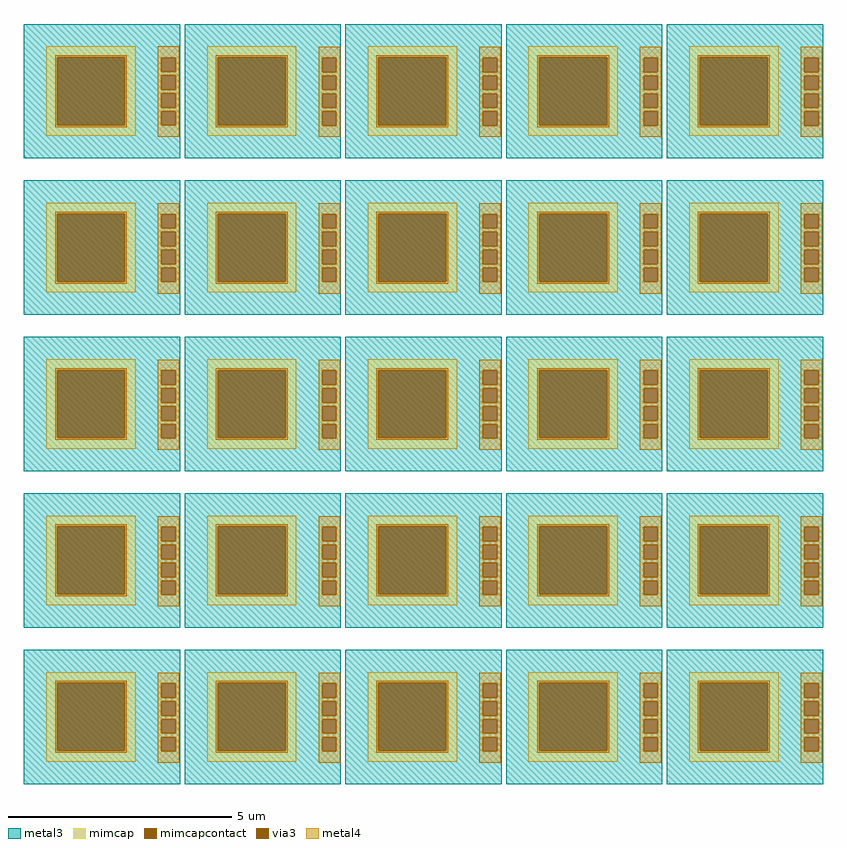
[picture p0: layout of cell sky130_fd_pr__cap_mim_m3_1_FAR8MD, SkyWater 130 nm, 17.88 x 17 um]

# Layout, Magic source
magic
tech sky130A
magscale 1 2
<< metal3 >>
rect -1788 1550 -1089 1700
rect -1788 1486 -1173 1550
rect -1109 1486 -1089 1550
rect -1788 1470 -1089 1486
rect -1788 1406 -1173 1470
rect -1109 1406 -1089 1470
rect -1788 1390 -1089 1406
rect -1788 1326 -1173 1390
rect -1109 1326 -1089 1390
rect -1788 1310 -1089 1326
rect -1788 1246 -1173 1310
rect -1109 1246 -1089 1310
rect -1788 1100 -1089 1246
rect -1069 1549 -370 1700
rect -1069 1485 -454 1549
rect -390 1485 -370 1549
rect -1069 1469 -370 1485
rect -1069 1405 -454 1469
rect -390 1405 -370 1469
rect -1069 1389 -370 1405
rect -1069 1325 -454 1389
rect -390 1325 -370 1389
rect -1069 1309 -370 1325
rect -1069 1245 -454 1309
rect -390 1245 -370 1309
rect -1069 1100 -370 1245
rect -350 1549 349 1700
rect -350 1485 265 1549
rect 329 1485 349 1549
rect -350 1469 349 1485
rect -350 1405 265 1469
rect 329 1405 349 1469
rect -350 1389 349 1405
rect -350 1325 265 1389
rect 329 1325 349 1389
rect -350 1309 349 1325
rect -350 1245 265 1309
rect 329 1245 349 1309
rect -350 1100 349 1245
rect 369 1549 1068 1700
rect 369 1485 984 1549
rect 1048 1485 1068 1549
rect 369 1469 1068 1485
rect 369 1405 984 1469
rect 1048 1405 1068 1469
rect 369 1389 1068 1405
rect 369 1325 984 1389
rect 1048 1325 1068 1389
rect 369 1309 1068 1325
rect 369 1245 984 1309
rect 1048 1245 1068 1309
rect 369 1100 1068 1245
rect 1088 1549 1787 1700
rect 1088 1485 1703 1549
rect 1767 1485 1787 1549
rect 1088 1469 1787 1485
rect 1088 1405 1703 1469
rect 1767 1405 1787 1469
rect 1088 1389 1787 1405
rect 1088 1325 1703 1389
rect 1767 1325 1787 1389
rect 1088 1309 1787 1325
rect 1088 1245 1703 1309
rect 1767 1245 1787 1309
rect 1088 1100 1787 1245
rect -1788 850 -1089 1000
rect -1788 786 -1173 850
rect -1109 786 -1089 850
rect -1788 770 -1089 786
rect -1788 706 -1173 770
rect -1109 706 -1089 770
rect -1788 690 -1089 706
rect -1788 626 -1173 690
rect -1109 626 -1089 690
rect -1788 610 -1089 626
rect -1788 546 -1173 610
rect -1109 546 -1089 610
rect -1788 400 -1089 546
rect -1069 850 -370 1000
rect -1069 786 -454 850
rect -390 786 -370 850
rect -1069 770 -370 786
rect -1069 706 -454 770
rect -390 706 -370 770
rect -1069 690 -370 706
rect -1069 626 -454 690
rect -390 626 -370 690
rect -1069 610 -370 626
rect -1069 546 -454 610
rect -390 546 -370 610
rect -1069 400 -370 546
rect -350 850 349 1000
rect -350 786 265 850
rect 329 786 349 850
rect -350 770 349 786
rect -350 706 265 770
rect 329 706 349 770
rect -350 690 349 706
rect -350 626 265 690
rect 329 626 349 690
rect -350 610 349 626
rect -350 546 265 610
rect 329 546 349 610
rect -350 400 349 546
rect 369 850 1068 1000
rect 369 786 984 850
rect 1048 786 1068 850
rect 369 770 1068 786
rect 369 706 984 770
rect 1048 706 1068 770
rect 369 690 1068 706
rect 369 626 984 690
rect 1048 626 1068 690
rect 369 610 1068 626
rect 369 546 984 610
rect 1048 546 1068 610
rect 369 400 1068 546
rect 1088 850 1787 1000
rect 1088 786 1703 850
rect 1767 786 1787 850
rect 1088 770 1787 786
rect 1088 706 1703 770
rect 1767 706 1787 770
rect 1088 690 1787 706
rect 1088 626 1703 690
rect 1767 626 1787 690
rect 1088 610 1787 626
rect 1088 546 1703 610
rect 1767 546 1787 610
rect 1088 400 1787 546
rect -1788 150 -1089 300
rect -1788 86 -1173 150
rect -1109 86 -1089 150
rect -1788 70 -1089 86
rect -1788 6 -1173 70
rect -1109 6 -1089 70
rect -1788 -10 -1089 6
rect -1788 -74 -1173 -10
rect -1109 -74 -1089 -10
rect -1788 -90 -1089 -74
rect -1788 -154 -1173 -90
rect -1109 -154 -1089 -90
rect -1788 -300 -1089 -154
rect -1069 150 -370 300
rect -1069 86 -454 150
rect -390 86 -370 150
rect -1069 70 -370 86
rect -1069 6 -454 70
rect -390 6 -370 70
rect -1069 -10 -370 6
rect -1069 -74 -454 -10
rect -390 -74 -370 -10
rect -1069 -90 -370 -74
rect -1069 -154 -454 -90
rect -390 -154 -370 -90
rect -1069 -300 -370 -154
rect -350 150 349 300
rect -350 86 265 150
rect 329 86 349 150
rect -350 70 349 86
rect -350 6 265 70
rect 329 6 349 70
rect -350 -10 349 6
rect -350 -74 265 -10
rect 329 -74 349 -10
rect -350 -90 349 -74
rect -350 -154 265 -90
rect 329 -154 349 -90
rect -350 -300 349 -154
rect 369 150 1068 300
rect 369 86 984 150
rect 1048 86 1068 150
rect 369 70 1068 86
rect 369 6 984 70
rect 1048 6 1068 70
rect 369 -10 1068 6
rect 369 -74 984 -10
rect 1048 -74 1068 -10
rect 369 -90 1068 -74
rect 369 -154 984 -90
rect 1048 -154 1068 -90
rect 369 -300 1068 -154
rect 1088 150 1787 300
rect 1088 86 1703 150
rect 1767 86 1787 150
rect 1088 70 1787 86
rect 1088 6 1703 70
rect 1767 6 1787 70
rect 1088 -10 1787 6
rect 1088 -74 1703 -10
rect 1767 -74 1787 -10
rect 1088 -90 1787 -74
rect 1088 -154 1703 -90
rect 1767 -154 1787 -90
rect 1088 -300 1787 -154
rect -1788 -550 -1089 -400
rect -1788 -614 -1173 -550
rect -1109 -614 -1089 -550
rect -1788 -630 -1089 -614
rect -1788 -694 -1173 -630
rect -1109 -694 -1089 -630
rect -1788 -710 -1089 -694
rect -1788 -774 -1173 -710
rect -1109 -774 -1089 -710
rect -1788 -790 -1089 -774
rect -1788 -854 -1173 -790
rect -1109 -854 -1089 -790
rect -1788 -1000 -1089 -854
rect -1069 -550 -370 -400
rect -1069 -614 -454 -550
rect -390 -614 -370 -550
rect -1069 -630 -370 -614
rect -1069 -694 -454 -630
rect -390 -694 -370 -630
rect -1069 -710 -370 -694
rect -1069 -774 -454 -710
rect -390 -774 -370 -710
rect -1069 -790 -370 -774
rect -1069 -854 -454 -790
rect -390 -854 -370 -790
rect -1069 -1000 -370 -854
rect -350 -550 349 -400
rect -350 -614 265 -550
rect 329 -614 349 -550
rect -350 -630 349 -614
rect -350 -694 265 -630
rect 329 -694 349 -630
rect -350 -710 349 -694
rect -350 -774 265 -710
rect 329 -774 349 -710
rect -350 -790 349 -774
rect -350 -854 265 -790
rect 329 -854 349 -790
rect -350 -1000 349 -854
rect 369 -550 1068 -400
rect 369 -614 984 -550
rect 1048 -614 1068 -550
rect 369 -630 1068 -614
rect 369 -694 984 -630
rect 1048 -694 1068 -630
rect 369 -710 1068 -694
rect 369 -774 984 -710
rect 1048 -774 1068 -710
rect 369 -790 1068 -774
rect 369 -854 984 -790
rect 1048 -854 1068 -790
rect 369 -1000 1068 -854
rect 1088 -550 1787 -400
rect 1088 -614 1703 -550
rect 1767 -614 1787 -550
rect 1088 -630 1787 -614
rect 1088 -694 1703 -630
rect 1767 -694 1787 -630
rect 1088 -710 1787 -694
rect 1088 -774 1703 -710
rect 1767 -774 1787 -710
rect 1088 -790 1787 -774
rect 1088 -854 1703 -790
rect 1767 -854 1787 -790
rect 1088 -1000 1787 -854
rect -1788 -1250 -1089 -1100
rect -1788 -1314 -1173 -1250
rect -1109 -1314 -1089 -1250
rect -1788 -1330 -1089 -1314
rect -1788 -1394 -1173 -1330
rect -1109 -1394 -1089 -1330
rect -1788 -1410 -1089 -1394
rect -1788 -1474 -1173 -1410
rect -1109 -1474 -1089 -1410
rect -1788 -1490 -1089 -1474
rect -1788 -1554 -1173 -1490
rect -1109 -1554 -1089 -1490
rect -1788 -1700 -1089 -1554
rect -1069 -1250 -370 -1100
rect -1069 -1314 -454 -1250
rect -390 -1314 -370 -1250
rect -1069 -1330 -370 -1314
rect -1069 -1394 -454 -1330
rect -390 -1394 -370 -1330
rect -1069 -1410 -370 -1394
rect -1069 -1474 -454 -1410
rect -390 -1474 -370 -1410
rect -1069 -1490 -370 -1474
rect -1069 -1554 -454 -1490
rect -390 -1554 -370 -1490
rect -1069 -1700 -370 -1554
rect -350 -1250 349 -1100
rect -350 -1314 265 -1250
rect 329 -1314 349 -1250
rect -350 -1330 349 -1314
rect -350 -1394 265 -1330
rect 329 -1394 349 -1330
rect -350 -1410 349 -1394
rect -350 -1474 265 -1410
rect 329 -1474 349 -1410
rect -350 -1490 349 -1474
rect -350 -1554 265 -1490
rect 329 -1554 349 -1490
rect -350 -1700 349 -1554
rect 369 -1250 1068 -1100
rect 369 -1314 984 -1250
rect 1048 -1314 1068 -1250
rect 369 -1330 1068 -1314
rect 369 -1394 984 -1330
rect 1048 -1394 1068 -1330
rect 369 -1410 1068 -1394
rect 369 -1474 984 -1410
rect 1048 -1474 1068 -1410
rect 369 -1490 1068 -1474
rect 369 -1554 984 -1490
rect 1048 -1554 1068 -1490
rect 369 -1700 1068 -1554
rect 1088 -1250 1787 -1100
rect 1088 -1314 1703 -1250
rect 1767 -1314 1787 -1250
rect 1088 -1330 1787 -1314
rect 1088 -1394 1703 -1330
rect 1767 -1394 1787 -1330
rect 1088 -1410 1787 -1394
rect 1088 -1474 1703 -1410
rect 1767 -1474 1787 -1410
rect 1088 -1490 1787 -1474
rect 1088 -1554 1703 -1490
rect 1767 -1554 1787 -1490
rect 1088 -1700 1787 -1554
<< via3 >>
rect -1173 1486 -1109 1550
rect -1173 1406 -1109 1470
rect -1173 1326 -1109 1390
rect -1173 1246 -1109 1310
rect -454 1485 -390 1549
rect -454 1405 -390 1469
rect -454 1325 -390 1389
rect -454 1245 -390 1309
rect 265 1485 329 1549
rect 265 1405 329 1469
rect 265 1325 329 1389
rect 265 1245 329 1309
rect 984 1485 1048 1549
rect 984 1405 1048 1469
rect 984 1325 1048 1389
rect 984 1245 1048 1309
rect 1703 1485 1767 1549
rect 1703 1405 1767 1469
rect 1703 1325 1767 1389
rect 1703 1245 1767 1309
rect -1173 786 -1109 850
rect -1173 706 -1109 770
rect -1173 626 -1109 690
rect -1173 546 -1109 610
rect -454 786 -390 850
rect -454 706 -390 770
rect -454 626 -390 690
rect -454 546 -390 610
rect 265 786 329 850
rect 265 706 329 770
rect 265 626 329 690
rect 265 546 329 610
rect 984 786 1048 850
rect 984 706 1048 770
rect 984 626 1048 690
rect 984 546 1048 610
rect 1703 786 1767 850
rect 1703 706 1767 770
rect 1703 626 1767 690
rect 1703 546 1767 610
rect -1173 86 -1109 150
rect -1173 6 -1109 70
rect -1173 -74 -1109 -10
rect -1173 -154 -1109 -90
rect -454 86 -390 150
rect -454 6 -390 70
rect -454 -74 -390 -10
rect -454 -154 -390 -90
rect 265 86 329 150
rect 265 6 329 70
rect 265 -74 329 -10
rect 265 -154 329 -90
rect 984 86 1048 150
rect 984 6 1048 70
rect 984 -74 1048 -10
rect 984 -154 1048 -90
rect 1703 86 1767 150
rect 1703 6 1767 70
rect 1703 -74 1767 -10
rect 1703 -154 1767 -90
rect -1173 -614 -1109 -550
rect -1173 -694 -1109 -630
rect -1173 -774 -1109 -710
rect -1173 -854 -1109 -790
rect -454 -614 -390 -550
rect -454 -694 -390 -630
rect -454 -774 -390 -710
rect -454 -854 -390 -790
rect 265 -614 329 -550
rect 265 -694 329 -630
rect 265 -774 329 -710
rect 265 -854 329 -790
rect 984 -614 1048 -550
rect 984 -694 1048 -630
rect 984 -774 1048 -710
rect 984 -854 1048 -790
rect 1703 -614 1767 -550
rect 1703 -694 1767 -630
rect 1703 -774 1767 -710
rect 1703 -854 1767 -790
rect -1173 -1314 -1109 -1250
rect -1173 -1394 -1109 -1330
rect -1173 -1474 -1109 -1410
rect -1173 -1554 -1109 -1490
rect -454 -1314 -390 -1250
rect -454 -1394 -390 -1330
rect -454 -1474 -390 -1410
rect -454 -1554 -390 -1490
rect 265 -1314 329 -1250
rect 265 -1394 329 -1330
rect 265 -1474 329 -1410
rect 265 -1554 329 -1490
rect 984 -1314 1048 -1250
rect 984 -1394 1048 -1330
rect 984 -1474 1048 -1410
rect 984 -1554 1048 -1490
rect 1703 -1314 1767 -1250
rect 1703 -1394 1767 -1330
rect 1703 -1474 1767 -1410
rect 1703 -1554 1767 -1490
<< mimcap >>
rect -1688 1552 -1288 1600
rect -1688 1248 -1640 1552
rect -1336 1248 -1288 1552
rect -1688 1200 -1288 1248
rect -969 1552 -569 1600
rect -969 1248 -921 1552
rect -617 1248 -569 1552
rect -969 1200 -569 1248
rect -250 1552 150 1600
rect -250 1248 -202 1552
rect 102 1248 150 1552
rect -250 1200 150 1248
rect 469 1552 869 1600
rect 469 1248 517 1552
rect 821 1248 869 1552
rect 469 1200 869 1248
rect 1188 1552 1588 1600
rect 1188 1248 1236 1552
rect 1540 1248 1588 1552
rect 1188 1200 1588 1248
rect -1688 852 -1288 900
rect -1688 548 -1640 852
rect -1336 548 -1288 852
rect -1688 500 -1288 548
rect -969 852 -569 900
rect -969 548 -921 852
rect -617 548 -569 852
rect -969 500 -569 548
rect -250 852 150 900
rect -250 548 -202 852
rect 102 548 150 852
rect -250 500 150 548
rect 469 852 869 900
rect 469 548 517 852
rect 821 548 869 852
rect 469 500 869 548
rect 1188 852 1588 900
rect 1188 548 1236 852
rect 1540 548 1588 852
rect 1188 500 1588 548
rect -1688 152 -1288 200
rect -1688 -152 -1640 152
rect -1336 -152 -1288 152
rect -1688 -200 -1288 -152
rect -969 152 -569 200
rect -969 -152 -921 152
rect -617 -152 -569 152
rect -969 -200 -569 -152
rect -250 152 150 200
rect -250 -152 -202 152
rect 102 -152 150 152
rect -250 -200 150 -152
rect 469 152 869 200
rect 469 -152 517 152
rect 821 -152 869 152
rect 469 -200 869 -152
rect 1188 152 1588 200
rect 1188 -152 1236 152
rect 1540 -152 1588 152
rect 1188 -200 1588 -152
rect -1688 -548 -1288 -500
rect -1688 -852 -1640 -548
rect -1336 -852 -1288 -548
rect -1688 -900 -1288 -852
rect -969 -548 -569 -500
rect -969 -852 -921 -548
rect -617 -852 -569 -548
rect -969 -900 -569 -852
rect -250 -548 150 -500
rect -250 -852 -202 -548
rect 102 -852 150 -548
rect -250 -900 150 -852
rect 469 -548 869 -500
rect 469 -852 517 -548
rect 821 -852 869 -548
rect 469 -900 869 -852
rect 1188 -548 1588 -500
rect 1188 -852 1236 -548
rect 1540 -852 1588 -548
rect 1188 -900 1588 -852
rect -1688 -1248 -1288 -1200
rect -1688 -1552 -1640 -1248
rect -1336 -1552 -1288 -1248
rect -1688 -1600 -1288 -1552
rect -969 -1248 -569 -1200
rect -969 -1552 -921 -1248
rect -617 -1552 -569 -1248
rect -969 -1600 -569 -1552
rect -250 -1248 150 -1200
rect -250 -1552 -202 -1248
rect 102 -1552 150 -1248
rect -250 -1600 150 -1552
rect 469 -1248 869 -1200
rect 469 -1552 517 -1248
rect 821 -1552 869 -1248
rect 469 -1600 869 -1552
rect 1188 -1248 1588 -1200
rect 1188 -1552 1236 -1248
rect 1540 -1552 1588 -1248
rect 1188 -1600 1588 -1552
<< mimcapcontact >>
rect -1640 1248 -1336 1552
rect -921 1248 -617 1552
rect -202 1248 102 1552
rect 517 1248 821 1552
rect 1236 1248 1540 1552
rect -1640 548 -1336 852
rect -921 548 -617 852
rect -202 548 102 852
rect 517 548 821 852
rect 1236 548 1540 852
rect -1640 -152 -1336 152
rect -921 -152 -617 152
rect -202 -152 102 152
rect 517 -152 821 152
rect 1236 -152 1540 152
rect -1640 -852 -1336 -548
rect -921 -852 -617 -548
rect -202 -852 102 -548
rect 517 -852 821 -548
rect 1236 -852 1540 -548
rect -1640 -1552 -1336 -1248
rect -921 -1552 -617 -1248
rect -202 -1552 102 -1248
rect 517 -1552 821 -1248
rect 1236 -1552 1540 -1248
<< metal4 >>
rect -1649 1552 -1327 1561
rect -1649 1248 -1640 1552
rect -1336 1248 -1327 1552
rect -1649 1239 -1327 1248
rect -1189 1550 -1093 1600
rect -1189 1486 -1173 1550
rect -1109 1486 -1093 1550
rect -1189 1470 -1093 1486
rect -1189 1406 -1173 1470
rect -1109 1406 -1093 1470
rect -1189 1390 -1093 1406
rect -1189 1326 -1173 1390
rect -1109 1326 -1093 1390
rect -1189 1310 -1093 1326
rect -1189 1246 -1173 1310
rect -1109 1246 -1093 1310
rect -1189 1196 -1093 1246
rect -930 1552 -608 1561
rect -930 1248 -921 1552
rect -617 1248 -608 1552
rect -930 1239 -608 1248
rect -470 1549 -374 1598
rect -470 1485 -454 1549
rect -390 1485 -374 1549
rect -470 1469 -374 1485
rect -470 1405 -454 1469
rect -390 1405 -374 1469
rect -470 1389 -374 1405
rect -470 1325 -454 1389
rect -390 1325 -374 1389
rect -470 1309 -374 1325
rect -470 1245 -454 1309
rect -390 1245 -374 1309
rect -470 1196 -374 1245
rect -211 1552 111 1561
rect -211 1248 -202 1552
rect 102 1248 111 1552
rect -211 1239 111 1248
rect 249 1549 345 1598
rect 249 1485 265 1549
rect 329 1485 345 1549
rect 249 1469 345 1485
rect 249 1405 265 1469
rect 329 1405 345 1469
rect 249 1389 345 1405
rect 249 1325 265 1389
rect 329 1325 345 1389
rect 249 1309 345 1325
rect 249 1245 265 1309
rect 329 1245 345 1309
rect 249 1196 345 1245
rect 508 1552 830 1561
rect 508 1248 517 1552
rect 821 1248 830 1552
rect 508 1239 830 1248
rect 968 1549 1064 1598
rect 968 1485 984 1549
rect 1048 1485 1064 1549
rect 968 1469 1064 1485
rect 968 1405 984 1469
rect 1048 1405 1064 1469
rect 968 1389 1064 1405
rect 968 1325 984 1389
rect 1048 1325 1064 1389
rect 968 1309 1064 1325
rect 968 1245 984 1309
rect 1048 1245 1064 1309
rect 968 1196 1064 1245
rect 1227 1552 1549 1561
rect 1227 1248 1236 1552
rect 1540 1248 1549 1552
rect 1227 1239 1549 1248
rect 1687 1549 1783 1598
rect 1687 1485 1703 1549
rect 1767 1485 1783 1549
rect 1687 1469 1783 1485
rect 1687 1405 1703 1469
rect 1767 1405 1783 1469
rect 1687 1389 1783 1405
rect 1687 1325 1703 1389
rect 1767 1325 1783 1389
rect 1687 1309 1783 1325
rect 1687 1245 1703 1309
rect 1767 1245 1783 1309
rect 1687 1196 1783 1245
rect -1649 852 -1327 861
rect -1649 548 -1640 852
rect -1336 548 -1327 852
rect -1649 539 -1327 548
rect -1189 850 -1093 898
rect -1189 786 -1173 850
rect -1109 786 -1093 850
rect -1189 770 -1093 786
rect -1189 706 -1173 770
rect -1109 706 -1093 770
rect -1189 690 -1093 706
rect -1189 626 -1173 690
rect -1109 626 -1093 690
rect -1189 610 -1093 626
rect -1189 546 -1173 610
rect -1109 546 -1093 610
rect -1189 494 -1093 546
rect -930 852 -608 861
rect -930 548 -921 852
rect -617 548 -608 852
rect -930 539 -608 548
rect -470 850 -374 898
rect -470 786 -454 850
rect -390 786 -374 850
rect -470 770 -374 786
rect -470 706 -454 770
rect -390 706 -374 770
rect -470 690 -374 706
rect -470 626 -454 690
rect -390 626 -374 690
rect -470 610 -374 626
rect -470 546 -454 610
rect -390 546 -374 610
rect -470 494 -374 546
rect -211 852 111 861
rect -211 548 -202 852
rect 102 548 111 852
rect -211 539 111 548
rect 249 850 345 898
rect 249 786 265 850
rect 329 786 345 850
rect 249 770 345 786
rect 249 706 265 770
rect 329 706 345 770
rect 249 690 345 706
rect 249 626 265 690
rect 329 626 345 690
rect 249 610 345 626
rect 249 546 265 610
rect 329 546 345 610
rect 249 494 345 546
rect 508 852 830 861
rect 508 548 517 852
rect 821 548 830 852
rect 508 539 830 548
rect 968 850 1064 898
rect 968 786 984 850
rect 1048 786 1064 850
rect 968 770 1064 786
rect 968 706 984 770
rect 1048 706 1064 770
rect 968 690 1064 706
rect 968 626 984 690
rect 1048 626 1064 690
rect 968 610 1064 626
rect 968 546 984 610
rect 1048 546 1064 610
rect 968 494 1064 546
rect 1227 852 1549 861
rect 1227 548 1236 852
rect 1540 548 1549 852
rect 1227 539 1549 548
rect 1687 850 1783 898
rect 1687 786 1703 850
rect 1767 786 1783 850
rect 1687 770 1783 786
rect 1687 706 1703 770
rect 1767 706 1783 770
rect 1687 690 1783 706
rect 1687 626 1703 690
rect 1767 626 1783 690
rect 1687 610 1783 626
rect 1687 546 1703 610
rect 1767 546 1783 610
rect 1687 494 1783 546
rect -1649 152 -1327 161
rect -1649 -152 -1640 152
rect -1336 -152 -1327 152
rect -1649 -161 -1327 -152
rect -1189 150 -1093 198
rect -1189 86 -1173 150
rect -1109 86 -1093 150
rect -1189 70 -1093 86
rect -1189 6 -1173 70
rect -1109 6 -1093 70
rect -1189 -10 -1093 6
rect -1189 -74 -1173 -10
rect -1109 -74 -1093 -10
rect -1189 -90 -1093 -74
rect -1189 -154 -1173 -90
rect -1109 -154 -1093 -90
rect -1189 -204 -1093 -154
rect -930 152 -608 161
rect -930 -152 -921 152
rect -617 -152 -608 152
rect -930 -161 -608 -152
rect -470 150 -374 198
rect -470 86 -454 150
rect -390 86 -374 150
rect -470 70 -374 86
rect -470 6 -454 70
rect -390 6 -374 70
rect -470 -10 -374 6
rect -470 -74 -454 -10
rect -390 -74 -374 -10
rect -470 -90 -374 -74
rect -470 -154 -454 -90
rect -390 -154 -374 -90
rect -470 -204 -374 -154
rect -211 152 111 161
rect -211 -152 -202 152
rect 102 -152 111 152
rect -211 -161 111 -152
rect 249 150 345 198
rect 249 86 265 150
rect 329 86 345 150
rect 249 70 345 86
rect 249 6 265 70
rect 329 6 345 70
rect 249 -10 345 6
rect 249 -74 265 -10
rect 329 -74 345 -10
rect 249 -90 345 -74
rect 249 -154 265 -90
rect 329 -154 345 -90
rect 249 -204 345 -154
rect 508 152 830 161
rect 508 -152 517 152
rect 821 -152 830 152
rect 508 -161 830 -152
rect 968 150 1064 198
rect 968 86 984 150
rect 1048 86 1064 150
rect 968 70 1064 86
rect 968 6 984 70
rect 1048 6 1064 70
rect 968 -10 1064 6
rect 968 -74 984 -10
rect 1048 -74 1064 -10
rect 968 -90 1064 -74
rect 968 -154 984 -90
rect 1048 -154 1064 -90
rect 968 -204 1064 -154
rect 1227 152 1549 161
rect 1227 -152 1236 152
rect 1540 -152 1549 152
rect 1227 -161 1549 -152
rect 1687 150 1783 198
rect 1687 86 1703 150
rect 1767 86 1783 150
rect 1687 70 1783 86
rect 1687 6 1703 70
rect 1767 6 1783 70
rect 1687 -10 1783 6
rect 1687 -74 1703 -10
rect 1767 -74 1783 -10
rect 1687 -90 1783 -74
rect 1687 -154 1703 -90
rect 1767 -154 1783 -90
rect 1687 -204 1783 -154
rect -1649 -548 -1327 -539
rect -1649 -852 -1640 -548
rect -1336 -852 -1327 -548
rect -1649 -861 -1327 -852
rect -1189 -550 -1093 -502
rect -1189 -614 -1173 -550
rect -1109 -614 -1093 -550
rect -1189 -630 -1093 -614
rect -1189 -694 -1173 -630
rect -1109 -694 -1093 -630
rect -1189 -710 -1093 -694
rect -1189 -774 -1173 -710
rect -1109 -774 -1093 -710
rect -1189 -790 -1093 -774
rect -1189 -854 -1173 -790
rect -1109 -854 -1093 -790
rect -1189 -904 -1093 -854
rect -930 -548 -608 -539
rect -930 -852 -921 -548
rect -617 -852 -608 -548
rect -930 -861 -608 -852
rect -470 -550 -374 -502
rect -470 -614 -454 -550
rect -390 -614 -374 -550
rect -470 -630 -374 -614
rect -470 -694 -454 -630
rect -390 -694 -374 -630
rect -470 -710 -374 -694
rect -470 -774 -454 -710
rect -390 -774 -374 -710
rect -470 -790 -374 -774
rect -470 -854 -454 -790
rect -390 -854 -374 -790
rect -470 -904 -374 -854
rect -211 -548 111 -539
rect -211 -852 -202 -548
rect 102 -852 111 -548
rect -211 -861 111 -852
rect 249 -550 345 -502
rect 249 -614 265 -550
rect 329 -614 345 -550
rect 249 -630 345 -614
rect 249 -694 265 -630
rect 329 -694 345 -630
rect 249 -710 345 -694
rect 249 -774 265 -710
rect 329 -774 345 -710
rect 249 -790 345 -774
rect 249 -854 265 -790
rect 329 -854 345 -790
rect 249 -904 345 -854
rect 508 -548 830 -539
rect 508 -852 517 -548
rect 821 -852 830 -548
rect 508 -861 830 -852
rect 968 -550 1064 -502
rect 968 -614 984 -550
rect 1048 -614 1064 -550
rect 968 -630 1064 -614
rect 968 -694 984 -630
rect 1048 -694 1064 -630
rect 968 -710 1064 -694
rect 968 -774 984 -710
rect 1048 -774 1064 -710
rect 968 -790 1064 -774
rect 968 -854 984 -790
rect 1048 -854 1064 -790
rect 968 -904 1064 -854
rect 1227 -548 1549 -539
rect 1227 -852 1236 -548
rect 1540 -852 1549 -548
rect 1227 -861 1549 -852
rect 1687 -550 1783 -502
rect 1687 -614 1703 -550
rect 1767 -614 1783 -550
rect 1687 -630 1783 -614
rect 1687 -694 1703 -630
rect 1767 -694 1783 -630
rect 1687 -710 1783 -694
rect 1687 -774 1703 -710
rect 1767 -774 1783 -710
rect 1687 -790 1783 -774
rect 1687 -854 1703 -790
rect 1767 -854 1783 -790
rect 1687 -904 1783 -854
rect -1649 -1248 -1327 -1239
rect -1649 -1552 -1640 -1248
rect -1336 -1552 -1327 -1248
rect -1649 -1561 -1327 -1552
rect -1189 -1250 -1093 -1202
rect -1189 -1314 -1173 -1250
rect -1109 -1314 -1093 -1250
rect -1189 -1330 -1093 -1314
rect -1189 -1394 -1173 -1330
rect -1109 -1394 -1093 -1330
rect -1189 -1410 -1093 -1394
rect -1189 -1474 -1173 -1410
rect -1109 -1474 -1093 -1410
rect -1189 -1490 -1093 -1474
rect -1189 -1554 -1173 -1490
rect -1109 -1554 -1093 -1490
rect -1189 -1604 -1093 -1554
rect -930 -1248 -608 -1239
rect -930 -1552 -921 -1248
rect -617 -1552 -608 -1248
rect -930 -1561 -608 -1552
rect -470 -1250 -374 -1202
rect -470 -1314 -454 -1250
rect -390 -1314 -374 -1250
rect -470 -1330 -374 -1314
rect -470 -1394 -454 -1330
rect -390 -1394 -374 -1330
rect -470 -1410 -374 -1394
rect -470 -1474 -454 -1410
rect -390 -1474 -374 -1410
rect -470 -1490 -374 -1474
rect -470 -1554 -454 -1490
rect -390 -1554 -374 -1490
rect -470 -1604 -374 -1554
rect -211 -1248 111 -1239
rect -211 -1552 -202 -1248
rect 102 -1552 111 -1248
rect -211 -1561 111 -1552
rect 249 -1250 345 -1202
rect 249 -1314 265 -1250
rect 329 -1314 345 -1250
rect 249 -1330 345 -1314
rect 249 -1394 265 -1330
rect 329 -1394 345 -1330
rect 249 -1410 345 -1394
rect 249 -1474 265 -1410
rect 329 -1474 345 -1410
rect 249 -1490 345 -1474
rect 249 -1554 265 -1490
rect 329 -1554 345 -1490
rect 249 -1604 345 -1554
rect 508 -1248 830 -1239
rect 508 -1552 517 -1248
rect 821 -1552 830 -1248
rect 508 -1561 830 -1552
rect 968 -1250 1064 -1202
rect 968 -1314 984 -1250
rect 1048 -1314 1064 -1250
rect 968 -1330 1064 -1314
rect 968 -1394 984 -1330
rect 1048 -1394 1064 -1330
rect 968 -1410 1064 -1394
rect 968 -1474 984 -1410
rect 1048 -1474 1064 -1410
rect 968 -1490 1064 -1474
rect 968 -1554 984 -1490
rect 1048 -1554 1064 -1490
rect 968 -1604 1064 -1554
rect 1227 -1248 1549 -1239
rect 1227 -1552 1236 -1248
rect 1540 -1552 1549 -1248
rect 1227 -1561 1549 -1552
rect 1687 -1250 1783 -1202
rect 1687 -1314 1703 -1250
rect 1767 -1314 1783 -1250
rect 1687 -1330 1783 -1314
rect 1687 -1394 1703 -1330
rect 1767 -1394 1783 -1330
rect 1687 -1410 1783 -1394
rect 1687 -1474 1703 -1410
rect 1767 -1474 1783 -1410
rect 1687 -1490 1783 -1474
rect 1687 -1554 1703 -1490
rect 1767 -1554 1783 -1490
rect 1687 -1604 1783 -1554
<< properties >>
string FIXED_BBOX 1088 1100 1688 1700
<< end >>
